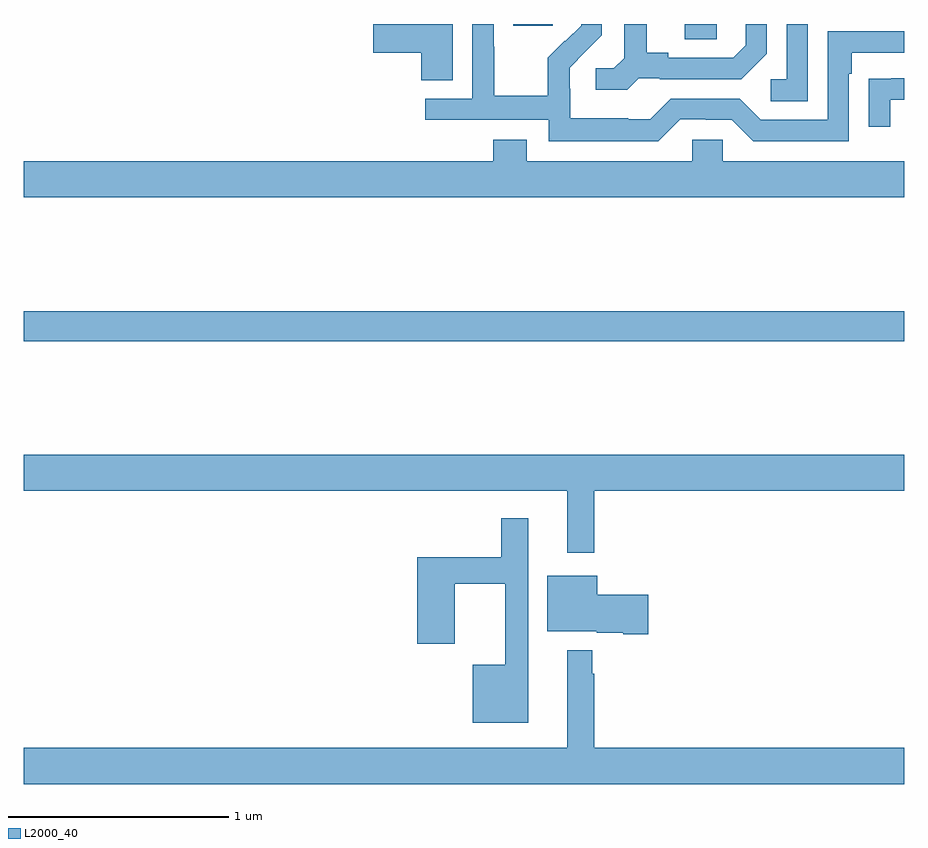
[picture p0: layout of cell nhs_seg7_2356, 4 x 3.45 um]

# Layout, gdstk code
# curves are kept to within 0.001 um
import gdstk
lib = gdstk.Library(unit=1e-6, precision=1e-09)
def R(c, l, rs):  # rectangles x0, y0, x1, y1
    for r in rs: c.add(gdstk.rectangle(r[:2], r[2:], *l))
def P(c, l, *ps):  # polygons
    for p in ps: c.add(gdstk.Polygon(p, *l))
L2000_40 = (2000, 40)

nhs_seg7_2356 = lib.new_cell('nhs_seg7_2356')
R(nhs_seg7_2356, L2000_40, [(263,1070.56,267,1070.696), (266.003,1071.931,266.148,1072), (265.223,1071.993,265.402,1072)])
P(nhs_seg7_2356, L2000_40, [(264.949,1072),(264.588,1072),(264.588,1071.869),(264.806,1071.869),(264.806,1071.745),(264.949,1071.745)],
  [(266.562,1072),(266.466,1072),(266.466,1071.75),(266.394,1071.75),(266.394,1071.649),(266.562,1071.649)],
  [(265.983,1071.567),(266.099,1071.567),(266.099,1071.564),(266.217,1071.564),(266.313,1071.468),(266.748,1071.468),(266.748,1071.773),(266.761,1071.773),(266.761,1071.87),(267,1071.87),(267,1071.966),(266.652,1071.966),(266.652,1071.564),(266.349,1071.564),(266.253,1071.66),(265.938,1071.66),(265.845,1071.567),(265.745,1071.567),(265.745,1071.571),(265.482,1071.571),(265.482,1071.705),(265.48,1071.705),(265.48,1071.802),(265.626,1071.95),(265.626,1072),(265.532,1072),(265.532,1071.992),(265.461,1071.921),(265.458,1071.924),(265.381,1071.847),(265.381,1071.673),(265.137,1071.673),(265.137,1071.896),(265.134,1071.896),(265.134,1072),(265.038,1072),(265.038,1071.66),(264.825,1071.66),(264.825,1071.564),(265.386,1071.564),(265.386,1071.467),(265.883,1071.467)],
  [(265.794,1071.753),(265.888,1071.753),(265.888,1071.75),(266.26,1071.75),(266.376,1071.866),(266.376,1072),(266.279,1072),(266.279,1071.903),(266.222,1071.846),(265.927,1071.846),(265.927,1071.869),(265.831,1071.869),(265.831,1072),(265.727,1072),(265.727,1071.845),(265.68,1071.798),(265.599,1071.798),(265.599,1071.701),(265.742,1071.701)],
  [(266.935,1071.657),(267,1071.657),(267,1071.753),(266.941,1071.753),(266.941,1071.752),(266.839,1071.752),(266.839,1071.534),(266.935,1071.534)],
  [(267,1071.376),(266.175,1071.376),(266.175,1071.474),(266.037,1071.474),(266.037,1071.376),(265.285,1071.376),(265.285,1071.475),(265.133,1071.475),(265.133,1071.376),(263,1071.376),(263,1071.212),(267,1071.212)],
  [(265.591,1069.88),(267,1069.88),(267,1070.044),(263,1070.044),(263,1069.88),(265.469,1069.88),(265.469,1069.599),(265.591,1069.599)],
  [(265.291,1069.756),(265.17,1069.756),(265.17,1069.579),(264.788,1069.579),(264.788,1069.185),(264.958,1069.185),(264.958,1069.458),(265.187,1069.458),(265.187,1069.09),(265.04,1069.09),(265.04,1068.827),(265.291,1068.827)],
  [(265.837,1069.407),(265.606,1069.407),(265.606,1069.495),(265.379,1069.495),(265.379,1069.241),(265.602,1069.241),(265.602,1069.235),(265.724,1069.235),(265.724,1069.229),(265.837,1069.229)],
  [(267,1068.712),(265.591,1068.712),(265.591,1069.049),(265.583,1069.049),(265.583,1069.156),(265.469,1069.156),(265.469,1068.712),(263,1068.712),(263,1068.548),(267,1068.548)])

lib.write_gds('nhs_seg7_2356.gds')
